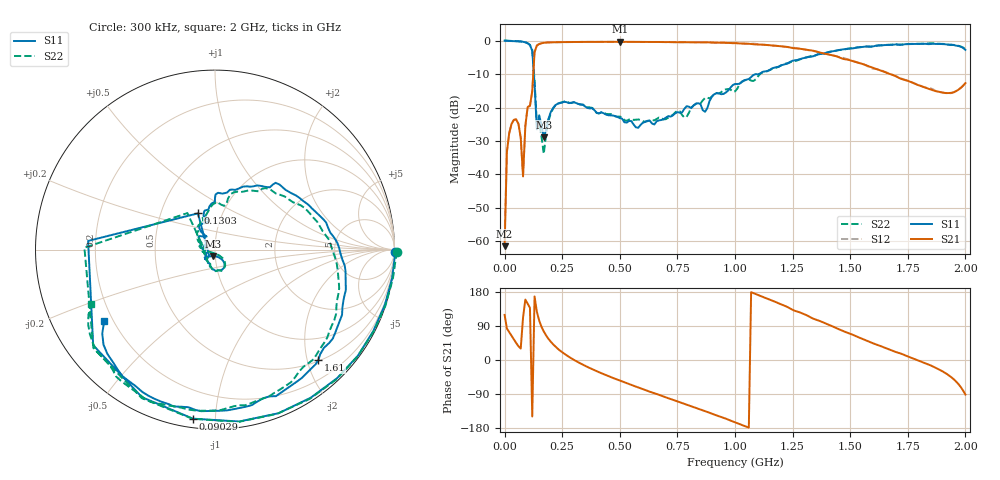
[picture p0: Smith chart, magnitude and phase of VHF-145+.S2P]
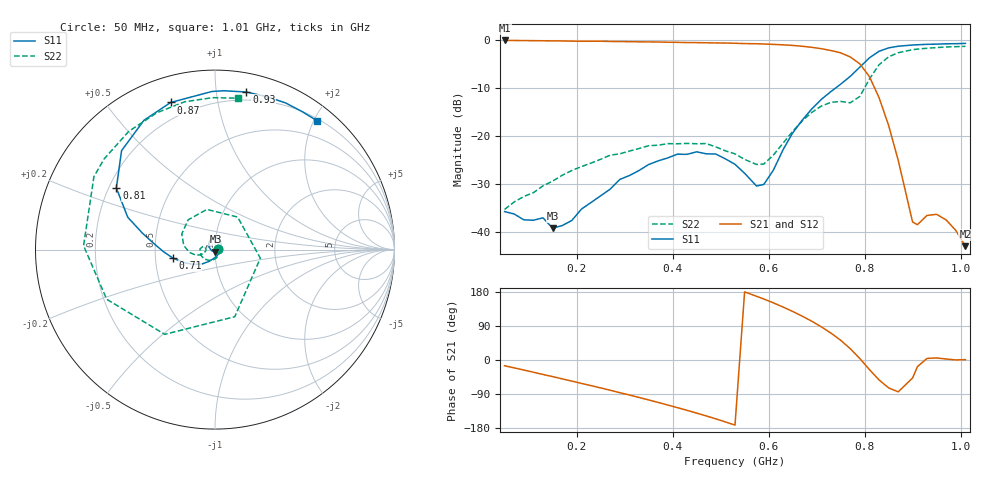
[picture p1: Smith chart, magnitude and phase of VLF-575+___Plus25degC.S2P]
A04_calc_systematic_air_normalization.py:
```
import numpy as np
import matplotlib.pyplot as plt
import glob
import scipy.interpolate
import scipy.signal
import copy
import experiment


def dbm(trace):
    return 10.0 * np.log10(np.square(np.abs(trace)) / 50.0 * 1e3)  # 1e3 for mW

exper_constants = experiment.ExperimentConstants()

c = exper_constants.c / 1e9

####################
# xFDTD Simulation #
####################

# gain file
gain_file = "./data_simulated/lpda_xfdtd_sims/gain.csv"
vswr_file = "./data_simulated/lpda_xfdtd_sims/vswr.csv"

# GHz
gain_freqs, gain_theta_, gain_phi_, gain_phi, gain_theta = np.loadtxt(gain_file, delimiter=",", unpack=True, skiprows=1)
vswr_freqs, vswr = np.loadtxt(vswr_file, delimiter=",", unpack=True, skiprows=1)
lpda_s11 = (vswr - 1) / (vswr + 1)

lpda_gain_rl = gain_theta * (1.0 - np.square(np.abs(lpda_s11)))
lpda_freqs = copy.deepcopy(gain_freqs)

# my simuation results
mine_h_rl = np.abs(np.sqrt(np.square(c / lpda_freqs) * (exper_constants.ZL / exper_constants.Z0) * (1.0 / (4.0 * np.pi)) * lpda_gain_rl))
mine_h_rl *= np.sqrt(exper_constants.ZL / exper_constants.Z0)

# going to upsample here a lot
mine_h_rl = np.append(mine_h_rl, np.zeros(200000 - len(mine_h_rl)))

master_freqs = np.arange(len(mine_h_rl)) * (lpda_freqs[1] - lpda_freqs[0])
master_times = np.arange(len(np.fft.irfft(mine_h_rl))) / master_freqs[-1] / 2.0

##########################
# NuRadioMC's Simulation #
##########################

nuradiomc_sim = np.load("./data_simulated/createLPDA_100MHz_InfAir.npz")
numc_ff = nuradiomc_sim['ff']
numc_theta = nuradiomc_sim['theta']
numc_phi = nuradiomc_sim['phi']

f_numc = scipy.interpolate.interp1d(numc_ff, numc_phi,
                                    kind='linear',
                                    bounds_error=False,
                                    fill_value=0.0)
numc_h = f_numc(master_freqs)
numc_h *= np.sqrt(exper_constants.ZL / exper_constants.Z0)

##############
# FID pulser #
##############

file_name = "./data_raw/Groundbounce_fid_pulser_after_sick_72db/2021_08_08_fid_pulser_with_72db_att_Ch1.csv"
data_fid_time, data_fid_trace = np.loadtxt(file_name, delimiter=",", skiprows=6, usecols=(3, 4), unpack=True)
data_fid_trace *= np.power(10.0, 72.0 / 20.0)
data_fid_time *= 1.0e9

fid_sickness = 2.0  # because the FID trace I am using is low amplitude ...

f_fid = scipy.interpolate.interp1d(data_fid_time - data_fid_time[0], data_fid_trace * fid_sickness,
                                   kind='linear', bounds_error=False, fill_value=0.0)

data_fid_trace = f_fid(master_times)
fid_fft = np.fft.rfft(data_fid_trace)

################
# Frontend Amp #
################

amp_freqs, amp_s21 = np.loadtxt("./data_raw/amp_board_v3.txt",
                                delimiter=",",
                                unpack=True,
                                comments="#")
amp_freqs *= 1e-3  # GHz
amp_s21 = np.power(10.0, amp_s21 / 20.0)
f_amp_s21 = scipy.interpolate.interp1d(amp_freqs, amp_s21,
                                       kind='linear', bounds_error=False, fill_value=0.0)
amp_s21 = (f_amp_s21(master_freqs))

###########
# Filters #
###########

Hz, S_1, S_2, dB_1, dB_2, R_1, R_2, fifty_1, fifty_2 = np.loadtxt("./data_simulated/s_para_files/VHF-145+.S2P",
                                                                  delimiter="\t",
                                                                  unpack=True,
                                                                  comments=["!", "#"],
                                                                  skiprows=1)

hp_filter_freq = Hz * 1e-9
hp_filter = np.power(10.0, dB_1 / 20.0)
f_hp_filter = scipy.interpolate.interp1d(hp_filter_freq, hp_filter,
                                         kind='linear',
                                         bounds_error=False,
                                         fill_value=0.0)
hp_filter = (f_hp_filter(master_freqs))

Hz, S_1, S_2, dB_1, dB_2, R_1, R_2, fifty_1, fifty_2 = np.loadtxt("./data_simulated/s_para_files/VLF-575+___Plus25degC.S2P",
                                                                  delimiter=",",
                                                                  unpack=True,
                                                                  comments=["!", "#"],
                                                                  skiprows=1)

lp_filter_freq = Hz * 1e-3
lp_filter = np.power(10.0, dB_1 / 20.0)
f_lp_filter = scipy.interpolate.interp1d(lp_filter_freq, lp_filter,
                                         kind='linear', bounds_error=False, fill_value=0.0)
lp_filter = (f_lp_filter(master_freqs))

#####################
# Signal Processing #
#####################

r = 244.0
w = 2.0 * np.pi * master_freqs

mine_signal = copy.deepcopy(fid_fft)  # FID Voltage
mine_signal *= mine_h_rl  # tx antenna response
mine_signal *= w  # derivative from transmission
mine_signal /= (2.0 * np.pi * c * r)  # path loss
mine_signal *= (exper_constants.Z0 / exper_constants.ZL)
mine_signal *= mine_h_rl  # rx antenna response
mine_signal *= amp_s21  # rx amplifier
mine_signal *= lp_filter  # LP filter
mine_signal *= hp_filter  # hp filter
mine_signal[np.logical_or(np.isnan(mine_signal), np.isinf(mine_signal))] = 0.0

numc_signal = copy.deepcopy(fid_fft)  # FID Voltage
numc_signal *= numc_h  # tx antenna response
numc_signal *= w  # derivative from transmission
numc_signal /= (2.0 * np.pi * c * r)  # path loss
numc_signal *= (exper_constants.Z0 / exper_constants.ZL)
numc_signal *= numc_h  # rx antenna response
numc_signal *= amp_s21  # rx amplifier
numc_signal *= lp_filter  # LP filter
numc_signal *= hp_filter  # hp filter
numc_signal[np.logical_or(np.isnan(numc_signal), np.isinf(numc_signal))] = 0.0

################
# Load up data #
################

air_to_air_att = 46.0  # dBm
data_time, data_trace = np.loadtxt("./data_raw/2021_08_02_psuedo_air_to_air_with_46db_att_Ch1.csv",
                                   delimiter=",",
                                   skiprows=6,
                                   usecols=(3, 4),
                                   unpack=True)
data_trace *= np.power(10.0, air_to_air_att / 20.0)
data_time *= 1e9
f_air = scipy.interpolate.interp1d(data_time - data_time[0], data_trace,
                                   kind='linear',
                                   bounds_error=False,
                                   fill_value=0.0)
data_air_trace = f_air(master_times)
airtoair_signal = np.abs(np.fft.rfft(data_air_trace))

############
# Plotting #
############

plt.figure(figsize=(5, 4))

f, Pxx_airtoair = scipy.signal.periodogram(data_air_trace,
                                           1.0 / (master_times[1] - master_times[0]) * 1e9,
                                           scaling='density',
                                           return_onesided=True)
Pxx_airtoair /= 50.0  # power on 50 Ohm
Pxx_airtoair *= 1e3  # mW
plt.plot(f * 1e-6, 10.0 * np.log10(Pxx_airtoair), color='black', label="Data")

f, Pxx_mine = scipy.signal.periodogram(np.fft.irfft(mine_signal),
                                       1.0 / (master_times[1] - master_times[0]) * 1e9,
                                       scaling='density',
                                       return_onesided=True)

Pxx_mine /= 50.0  # power on 50 Ohm
Pxx_mine *= 1e3  # mW
plt.plot(f * 1e-6, 10.0 * np.log10(Pxx_mine),
         color='red',
         label="xFDTD Simulation")

f, Pxx_numc = scipy.signal.periodogram(np.fft.irfft(numc_signal),
                                       1.0 / (master_times[1] - master_times[0]) * 1e9,
                                       scaling='density',
                                       return_onesided=True)

Pxx_numc /= 50.0  # power on 50 Ohm
Pxx_numc *= 1e3  # mW
plt.plot(f * 1e-6, 10.0 * np.log10(Pxx_numc), color='purple', label="WIPL-D Simulation")

plt.xlim(0.0, 750.0)
plt.ylim(-85.0, -45.0)
plt.xlabel("Frequency [MHz]")
plt.ylabel("Power at Oscilloscope [dBm / Hz]")
plt.grid()
plt.legend()
plt.savefig("./plots/A04_calc_systematics_air_normalization_no_reflections.png",
            dpi=300)

plt.show()
exit()

##############
# Reflection #
##############

plt.figure()

numc_signal = copy.deepcopy(fid_fft)  # FID Voltage
numc_signal *= numc_h  # tx antenna response
numc_signal *= w  # derivative from transmission
numc_signal *= 1.0j
numc_signal /= (2.0 * np.pi * c * r)  # path loss
numc_signal *= (exper_constants.Z0 / exper_constants.ZL)
numc_signal[0] = 0.0
numc_signal_time = np.fft.fftshift(np.fft.irfft(numc_signal))
f_numc = scipy.interpolate.interp1d(master_times, numc_signal_time,
                                    kind='linear', bounds_error=False, fill_value=0.0)

mine_signal = copy.deepcopy(fid_fft)  # FID Voltage
mine_signal *= mine_h_rl  # tx antenna response
mine_signal *= w  # derivative from transmission
numc_signal *= 1.0j
mine_signal /= (2.0 * np.pi * c * r)  # path loss
mine_signal *= (exper_constants.Z0 / exper_constants.ZL)
mine_signal[0] = 0.0
mine_signal_time = np.fft.fftshift(np.fft.irfft(mine_signal))
f_mine = scipy.interpolate.interp1d(master_times, mine_signal_time,
                                    kind='linear', bounds_error=False, fill_value=0.0)

scale = -1.0

for shift_time in [0.4]:

    numc_signal_time_ = copy.deepcopy(numc_signal_time) + scale * f_numc(master_times - shift_time)
    numc_signal_time_ = np.fft.fftshift(numc_signal_time_)
    numc_signal_ = np.fft.rfft(numc_signal_time_)

    numc_signal_ *= numc_h  # rx antenna response
    numc_signal_ *= amp_s21 * lp_filter * hp_filter  # rx response
    numc_signal_[np.logical_or(np.isnan(numc_signal_), np.isinf(numc_signal_))] = 0.0

    plt.plot(master_freqs * 1e3, dbm(numc_signal_), color='purple', label="NuRadioMC Sim")

    mine_signal_time_ = copy.deepcopy(mine_signal_time) + scale * f_mine(master_times - shift_time)
    mine_signal_time_ = np.fft.fftshift(mine_signal_time_)
    mine_signal_ = np.fft.rfft(mine_signal_time_)

    mine_signal_ *= mine_h_rl  # rx antenna response
    mine_signal_ *= amp_s21 * lp_filter * hp_filter  # rx response
    mine_signal_[np.logical_or(np.isnan(mine_signal_), np.isinf(mine_signal_))] = 0.0

    plt.plot(master_freqs * 1e3, dbm(mine_signal_), color='red', label="xFDTD Sim")

numc_signal *= numc_h  # rx antenna response
numc_signal *= amp_s21 * lp_filter * hp_filter  # rx response
numc_signal[np.logical_or(np.isnan(numc_signal), np.isinf(numc_signal))] = 0.0

mine_signal *= mine_h_rl  # rx antenna response
mine_signal *= amp_s21 * lp_filter * hp_filter  # rx response
mine_signal[np.logical_or(np.isnan(mine_signal), np.isinf(mine_signal))] = 0.0

plt.plot(master_freqs * 1e3, dbm(airtoair_signal), color="black", label="Data")

plt.title("Data vs. Simulation for LPDA Antennas seperated by 244 m \n With Reflection at 0.4 ns")
plt.xlim(0.0, 750.0)
plt.ylim(110.0, 160.0)
plt.xlabel("Freqs. [MHz]")
plt.ylabel("Power at Scope [dBm]")
plt.grid()
plt.legend()

plt.savefig("./plots/A04_calc_systematics_air_normalization_reflections.png",
            dpi=300)

plt.figure()
plt.plot(master_freqs * 1e3, np.power(10.0, (dbm(mine_signal_) - dbm(mine_signal)) / 20.0), color='red', label="xFDTD Sim")
plt.xlim(0.0, 750.0)
plt.ylim(0.0, 1.5)
plt.xlabel("Freqs. [MHz]")
plt.ylabel("Voltage Difference Ratio")
plt.grid()
plt.legend()

np.savez("./data_processed/A04_calc_systematic_air_normalization.npz",
         freq=master_freqs,
         ratio=np.power(10.0, (dbm(mine_signal_) - dbm(mine_signal)) / 20.0))

plt.show()
```
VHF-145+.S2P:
! Mini-Circuits
! S2P DATA File Format
! Type: High Pass Filter
! Model: VHF-145+
! Note: All S Parameters are in dB deg format
! TEST CONDITIONS: INPUT POWER = 0dBm @Temperature = +25degC
! 401 Frequency points
# Hz S dB R 50
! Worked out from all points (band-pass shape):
!   201 points, 300 kHz to 2 GHz, reference 50 ohm
!   highest |S21| = -0.30 dB at 500.2 MHz (marker M1); lowest = -61.6 dB at 300 kHz (marker M2)
!   |S21| within 3 dB of the highest: 130.7 MHz to 1.357 GHz (1.226 GHz wide, 165 % of centre)
!   lowest |S11| = -28.9 dB at 170.3 MHz (marker M3), VSWR 1.07, Z = 49 - j3.43 ohm
!   |S11| at or under -10 dB: 127.3 MHz to 1.089 GHz (962.2 MHz wide, 158 % of centre); 1.093 GHz to 1.102 GHz (8.53 MHz wide, 0.777 % of centre)
!   |S22| runs from -33.9 to 0.1 dB; largest |S21 - S12| = 0.029
!   S11 on the Smith chart (normalised r, x): 300 kHz: open; 90.29 MHz: 0.05, -0.88; 130.3 MHz: 0.77, +0.33; 1.61 GHz: 0.52, -2.20; 2 GHz: 0.17, -0.29
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300000  0.05 -0.6  -61.57 119.1  -58.77 110.4  0.11 -0.6
2.0297e7  -0.04 -18.0  -27.65 73.4  -27.73 72.8  -0.00 -18.2
8.0288e7  -0.29 -82.0  -40.66 111.7  -40.50 110.3  -0.27 -82.4
9.02865e7  -0.45 -97.5  -25.52 159.4  -25.54 159.2  -0.44 -97.7
1.302805e8  -13.03 115.2  -3.38 167.8  -3.36 167.7  -11.87 127.1
1.702745e8  -28.89 -103.5  -0.60 75.3  -0.61 75.2  -33.92 -102.1
2.302655e8  -18.87 -64.9  -0.42 30.1  -0.40 30.3  -18.91 -62.7
5.00225e8  -23.19 -142.1  -0.30 -54.3  -0.31 -54.4  -22.72 -129.2
1.00015e9  -12.94 104.6  -0.71 -164.3  -0.62 -164.8  -15.16 112.4
1.610058e9  -1.49 -46.9  -8.36 41.7  -8.45 42.1  -1.51 -58.0
2e9  -2.70 -147.4  -12.68 -91.2  -12.68 -91.0  -2.47 -156.3
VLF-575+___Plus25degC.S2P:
! Mini-Circuits
! S2P DATA File Format
! Type: Coaxial SMA Connectorized Low Pass Filter
! Model: VLF-575+
! Note: All S Parameters are in dB deg format
! TEST CONDITIONS: INPUT POWER = 0dBm @Temperature = +25degC
! 401 Frequency points
# MHz S DB R 50
!  FREQ  dB(S11)  PHS(S11)  dB(S21)  PHS(S21)  dB(S12)  PHS(S12)  dB(S22)  PHS(S22)
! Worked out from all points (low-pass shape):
!   49 points, 50 MHz to 1.01 GHz, reference 50 ohm
!   highest |S21| = -0.15 dB at 50 MHz (marker M1); lowest = -42.9 dB at 1.01 GHz (marker M2)
!   |S21| within 3 dB of the highest: start of sweep to 760.2 MHz
!   lowest |S11| = -39.2 dB at 150 MHz (marker M3), VSWR 1.02, Z = 50.2 - j1.08 ohm
!   |S11| at or under -10 dB: start of sweep to 740.1 MHz
!   |S22| runs from -35.3 to -1.4 dB; largest |S21 - S12| = 0.0054
!   S11 on the Smith chart (normalised r, x): 50 MHz: 1.03, +0.01; 710 MHz: 0.62, -0.06; 810 MHz: 0.23, +0.27; 870 MHz: 0.12, +0.74; 930 MHz: 0.14, +1.21; 1.01 GHz: 0.23, +2.04
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50  -35.73 16.4  -0.15 -15.2  -0.14 -15.1  -35.28 11.2
150  -39.18 -78.5  -0.24 -43.8  -0.23 -44.1  -29.40 -55.4
350  -25.95 132.7  -0.46 -105.3  -0.46 -105.4  -22.03 -139.1
530  -25.90 49.2  -0.74 -171.7  -0.74 -171.7  -23.73 164.2
590  -30.09 -48.9  -0.89 160.9  -0.89 160.7  -25.84 -173.8
710  -12.39 -168.8  -1.87 87.4  -1.86 87.5  -13.78 154.8
770  -7.63 167.2  -3.57 30.1  -3.55 30.2  -13.12 55.2
810  -3.77 148.0  -7.66 -25.2  -7.68 -25.1  -8.18 -73.6
870  -1.35 106.8  -25.04 -84.1  -25.06 -84.3  -2.70 178.3
930  -0.96 78.7  -36.53 4.1  -36.50 4.0  -1.77 126.1
1010  -0.77 51.8  -42.92 1.0  -42.91 1.1  -1.38 81.4
